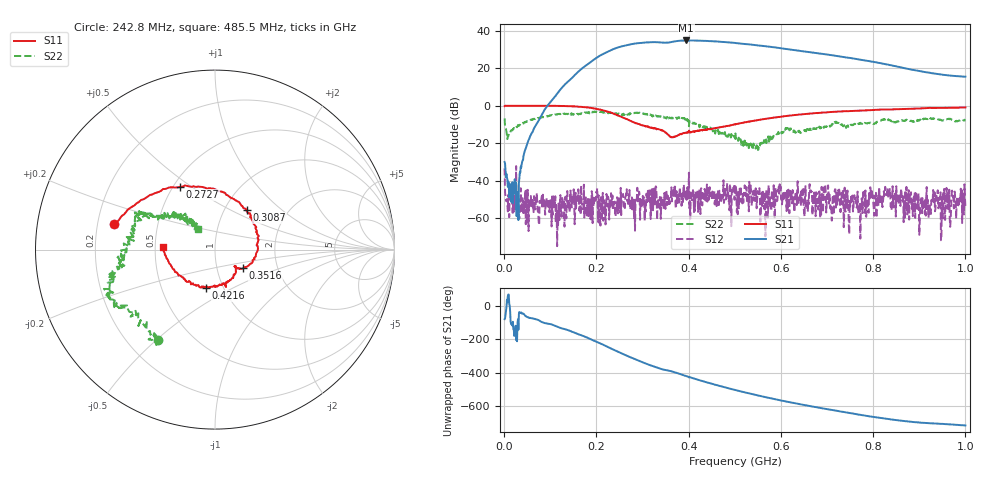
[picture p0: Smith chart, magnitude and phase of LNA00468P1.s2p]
! Created with skrf 1.9.0 (http://scikit-rf.org).
# Hz S RI R 50.0
!freq ReS11 ImS11 ReS21 ImS21 ReS12 ImS12 ReS22 ImS22
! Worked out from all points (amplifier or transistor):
!   1001 points, 1 MHz to 1 GHz, reference 50 ohm
!   highest |S21| = 34.9 dB at 394.6 MHz (marker M1)
!   |S21| within 3 dB of that: 257.3 MHz to 563.1 MHz (305.8 MHz wide, 74.5 % of centre)
!   unconditionally stable (mu >= 1): 18.62 MHz to 52.5 MHz; 222.1 MHz to 389.6 MHz; 400.8 MHz to end of sweep (the widest 3 of 40)
!   at 166.8 MHz: K = 1.17, MAG = 28.6 dB, |S12| = -42.6 dB
!   at 500.5 MHz: K = 1.34, MAG = 34.3 dB, |S12| = -42.1 dB
!   at 1 GHz: K = 6.46, MAG = 23.5 dB, |S12| = -53.5 dB
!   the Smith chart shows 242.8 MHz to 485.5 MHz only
!   S11 on the Smith chart (normalised r, x): 242.8 MHz: 0.27, +0.11; 272.7 MHz: 0.54, +0.45; 308.7 MHz: 1.27, +0.61; 351.6 MHz: 1.33, -0.29; 421.6 MHz: 0.83, -0.37; 485.5 MHz: 0.55, +0.02
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1000000  0.976 0.00111  0.00537 -0.0309  -0.0191 0.00965  0.3525 0.2936
1.08892e8  0.5258 -0.8459  -0.799 -1.492  -0.00114 0.00158  0.4343 -0.3712
1.67833e8  -0.2231 -0.9055  -9.709 -0.5739  0.00144 -0.00192  0.0363 -0.6295
2.09791e8  -0.6656 -0.401  -15.49 16.42  0.000272 -0.00357  -0.1816 -0.6509
2.42758e8  -0.5619 0.1399  -0.4333 34.69  -0.000816 0.00177  -0.3172 -0.501
2.72728e8  -0.1947 0.3494  25.6 35.58  -0.00036 -0.00198  -0.5485 -0.3129
2.88712e8  -0.00266 0.3371  38.16 27.64  -0.00498 0.00405  -0.6052 -0.2549
3.08692e8  0.1782 0.2207  48.09 11.69  -0.00121 0.0043  -0.5739 -0.1445
3.34666e8  0.2366 -0.00678  48.75 -10.35  -0.00123 0.00182  -0.5107 -0.0378
3.51649e8  0.1554 -0.1042  44.11 -20.37  -0.00491 0.00249  -0.4509 0.0499
3.72628e8  0.1149 -0.1005  42.03 -33.38  0.00159 0.000815  -0.4439 0.1902
3.94606e8  0.0799 -0.1751  28.46 -48.01  -0.00112 0.00493  -0.4128 0.2051
4.21579e8  -0.0485 -0.2125  7.364 -54.44  -0.00196 0.00394  -0.225 0.1907
4.5055e8  -0.1913 -0.147  -14.09 -51.67  0.0027 0.0013  -0.1576 0.1719
4.85515e8  -0.2896 0.0152  -32.59 -37.4  0.00505 0.000774  -0.0945 0.116
5.005e8  -0.3036 0.1006  -37.78 -29.6  0.00788 0.000429  -0.0961 0.0904
5.4046e8  -0.2453 0.3143  -41.61 -8.563  0.00162 0.00245  -0.0957 -0.0181
5.88412e8  -0.0479 0.4872  -34.36 11.22  0.00322 -0.00567  -0.1409 -0.0783
6.67333e8  0.3287 0.5287  -13.13 22.92  -0.00257 -0.00429  -0.2504 -0.0273
7.55245e8  0.6361 0.3537  3.878 18.05  -0.00235 -0.0032  -0.3058 0.0511
8.34166e8  0.7861 0.1213  8.886 8.692  -0.00347 0.00043  -0.4056 0.0784
1e9  0.7994 -0.4165  5.972 0.689  -0.00163 -0.00134  -0.1518 0.3801
